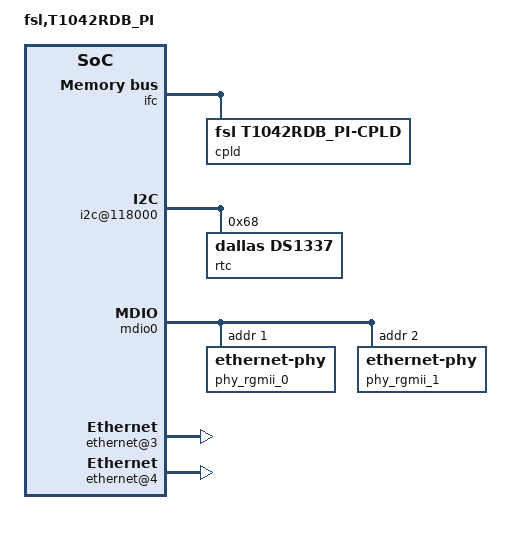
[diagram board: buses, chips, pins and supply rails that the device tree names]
/*
 * T1042RDB_PI Device Tree Source
 *
 * Copyright 2014 Freescale Semiconductor Inc.
 *
 * Redistribution and use in source and binary forms, with or without
 * modification, are permitted provided that the following conditions are met:
 *     * Redistributions of source code must retain the above copyright
 *	 notice, this list of conditions and the following disclaimer.
 *     * Redistributions in binary form must reproduce the above copyright
 *	 notice, this list of conditions and the following disclaimer in the
 *	 documentation and/or other materials provided with the distribution.
 *     * Neither the name of Freescale Semiconductor nor the
 *	 names of its contributors may be used to endorse or promote products
 *	 derived from this software without specific prior written permission.
 *
 *
 * ALTERNATIVELY, this software may be distributed under the terms of the
 * GNU General Public License ("GPL") as published by the Free Software
 * Foundation, either version 2 of that License or (at your option) any
 * later version.
 *
 * THIS SOFTWARE IS PROVIDED BY Freescale Semiconductor "AS IS" AND ANY
 * EXPRESS OR IMPLIED WARRANTIES, INCLUDING, BUT NOT LIMITED TO, THE IMPLIED
 * WARRANTIES OF MERCHANTABILITY AND FITNESS FOR A PARTICULAR PURPOSE ARE
 * DISCLAIMED. IN NO EVENT SHALL Freescale Semiconductor BE LIABLE FOR ANY
 * DIRECT, INDIRECT, INCIDENTAL, SPECIAL, EXEMPLARY, OR CONSEQUENTIAL DAMAGES
 * (INCLUDING, BUT NOT LIMITED TO, PROCUREMENT OF SUBSTITUTE GOODS OR SERVICES;
 * LOSS OF USE, DATA, OR PROFITS; OR BUSINESS INTERRUPTION) HOWEVER CAUSED AND
 * ON ANY THEORY OF LIABILITY, WHETHER IN CONTRACT, STRICT LIABILITY, OR TORT
 * (INCLUDING NEGLIGENCE OR OTHERWISE) ARISING IN ANY WAY OUT OF THE USE OF THIS
 * SOFTWARE, EVEN IF ADVISED OF THE POSSIBILITY OF SUCH DAMAGE.
 */

/include/ "t104xsi-pre.dtsi"
/include/ "t104xrdb.dtsi"

/ {
	model = "fsl,T1042RDB_PI";
	compatible = "fsl,T1042RDB_PI";
	aliases {
		phy_rgmii_0 = &phy_rgmii_0;
		phy_rgmii_1 = &phy_rgmii_1;
	};

	ifc: localbus@ffe124000 {
		cpld@3,0 {
			compatible = "fsl,t1042rdb_pi-cpld";
		};
	};
	soc: soc@ffe000000 {
		i2c@118000 {
			rtc@68 {
				compatible = "dallas,ds1337";
				reg = <0x68>;
				interrupts = <0x2 0x1 0 0>;
			};
		};
		fman0: fman@400000 {
			rcpm-wakeup = <&rcpm 0x00000008>;

			enet0: ethernet@e0000 {
				status = "disabled";
			};

			enet1: ethernet@e2000 {
				status = "disabled";
			};

			enet2: ethernet@e4000 {
				status = "disabled";
			};

			enet3: ethernet@e6000 {
				phy-handle = <&phy_rgmii_0>;
				phy-connection-type = "rgmii";
				rcpm-wakeup = <&rcpm 0x10000000>;
			};

			enet4: ethernet@e8000 {
				phy-handle = <&phy_rgmii_1>;
				phy-connection-type = "rgmii";
				rcpm-wakeup = <&rcpm 0x08000000>;
			};

			mdio0: mdio@fc000 {
				phy_rgmii_0: ethernet-phy@01 {
					reg = <0x01>;
				};
				phy_rgmii_1: ethernet-phy@02 {
					reg = <0x02>;
				};
			};
		};
	};
	fsl,dpaa {
		compatible = "fsl,t1042-dpaa", "fsl,dpaa";
		ethernet@0 {
			status = "disabled";
		};
		ethernet@1 {
			status = "disabled";
		};
		ethernet@2 {
			status = "disabled";
		};
		ethernet@3 {
			compatible = "fsl,t1042-dpa-ethernet",
					"fsl,dpa-ethernet";
			fsl,fman-mac = <&enet3>;
		};
		ethernet@4 {
			compatible = "fsl,t1042-dpa-ethernet",
					"fsl,dpa-ethernet";
			fsl,fman-mac = <&enet4>;
		};
	};
};

#include "t1042si-post.dtsi"
/include/ "qoriq-dpaa-res3.dtsi"
